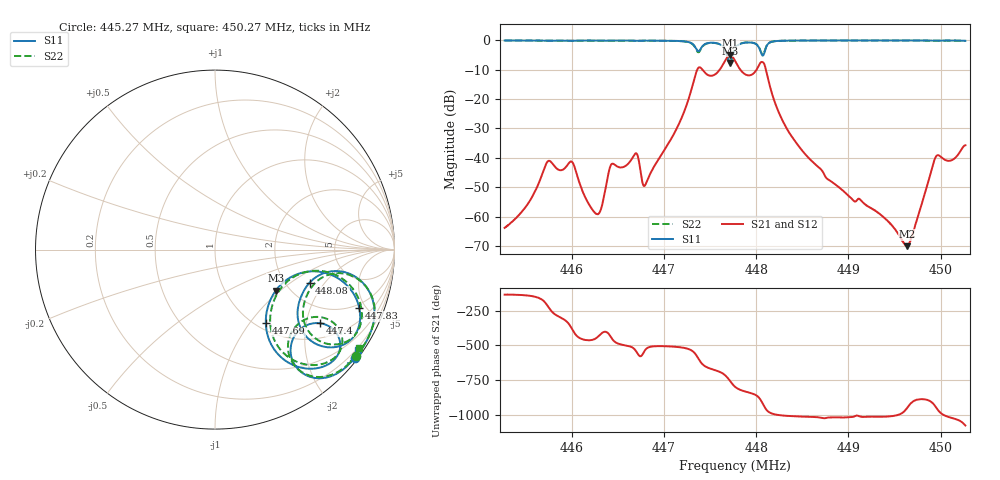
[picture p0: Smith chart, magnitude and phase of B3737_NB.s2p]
! S-parameter for B3737 in Touchstone format with magnitude (lin) and phase
! Normalised impedance: 50 Ohm. Measurement system: 50 Ohm Ta = 25°C
! B3737_NB.s2p not matched. Measurement full 2-port calibrated incl. Port ext.
! Start: 445.27MHz, Stop: 450.27MHz, Span: 5MHz, 1601 Pts., Step: 3.12kHz
! Date:23/03/07 Epcos SAW COM WT AE PD, AB
! Pinning according data sheet recommendation, In P1, Out P4, all others GND
# MHZ S MA R 50
! freq  magS11 angS11  magS21 angS21  magS12 angS12  magS22 angS22
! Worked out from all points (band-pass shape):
!   1601 points, 445.27 MHz to 450.27 MHz, reference 50 ohm
!   highest |S21| = -5.09 dB at 447.72 MHz (marker M1); lowest = -70.0 dB at 449.64 MHz (marker M2)
!   |S21| within 3 dB of the highest: 447.643 MHz to 447.7882 MHz (145.2 kHz wide, 0.0324 % of centre); 448.0379 MHz to 448.0869 MHz (48.99 kHz wide, 0.0109 % of centre)
!   lowest |S11| = -7.8 dB at 447.72 MHz (marker M3), VSWR 2.38, Z = 85.1 - j46.6 ohm
!   |S11| at or under -10 dB: nowhere
!   |S22| runs from -7.4 to -0.1 dB; largest |S21 - S12| = 0.002
!   S11 on the Smith chart (normalised r, x): 445.27 MHz: 0.06, -2.91; 447.4 MHz: 1.44, -2.42; 447.69 MHz: 1.10, -1.20; 447.83 MHz: 1.72, -4.51; 448.08 MHz: 2.68, -1.43; 450.27 MHz: 0.15, -3.14
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445.27  0.9866 -37.9  0.0006429 -133.9  0.000641 -133.3  0.9848 -37.0
445.745  0.9769 -38.4  0.008844 136.9  0.008853 137.2  0.9757 -37.6
446.0013  0.9766 -38.6  0.008533 -21.8  0.00854 -21.5  0.9741 -37.8
446.1044  0.9833 -38.6  0.002996 -93.6  0.002995 -93.4  0.981 -37.7
446.2794  0.9838 -39.1  0.001097 -80.2  0.001096 -79.6  0.9816 -38.3
446.4356  0.9799 -39.4  0.007922 -92.4  0.007926 -92.2  0.9765 -38.5
446.695  0.975 -40.6  0.01194 178.7  0.01194 178.9  0.973 -39.7
446.7887  0.981 -40.7  0.003332 179.9  0.00334 -179.9  0.9795 -39.9
446.9388  0.9802 -42.1  0.009365 -146.0  0.009362 -145.6  0.9781 -41.3
447.3981  0.7158 -35.0  0.3387 98.3  0.3388 98.5  0.6952 -32.7
447.6919  0.4986 -55.4  0.5245 -17.0  0.5252 -16.8  0.5005 -52.1
447.7169  0.4083 -34.0  0.5563 -37.9  0.557 -37.7  0.4248 -31.5
447.72  0.4113 -30.3  0.5567 -40.7  0.5574 -40.5  0.4286 -28.2
447.77  0.7018 -13.1  0.445 -79.3  0.4452 -79.1  0.711 -12.4
447.8294  0.8671 -22.0  0.3123 -102.4  0.3123 -102.2  0.8709 -21.1
448.0794  0.5585 -19.2  0.4127 149.8  0.413 150.0  0.584 -19.3
448.2887  0.9773 -26.2  0.04205 72.6  0.04205 72.9  0.9765 -25.7
448.6044  0.9864 -30.9  0.008743 62.6  0.008735 62.9  0.9849 -30.2
449.4388  0.9876 -33.9  0.0008048 66.3  0.0008056 65.7  0.986 -33.1
449.6356  0.9872 -34.3  0.0003147 124.0  0.0003203 126.8  0.9858 -33.5
449.9481  0.9775 -34.7  0.01034 134.9  0.01034 135.2  0.9751 -33.9
450.27  0.9735 -35.2  0.01633 0.9  0.01633 1.2  0.9718 -34.4
